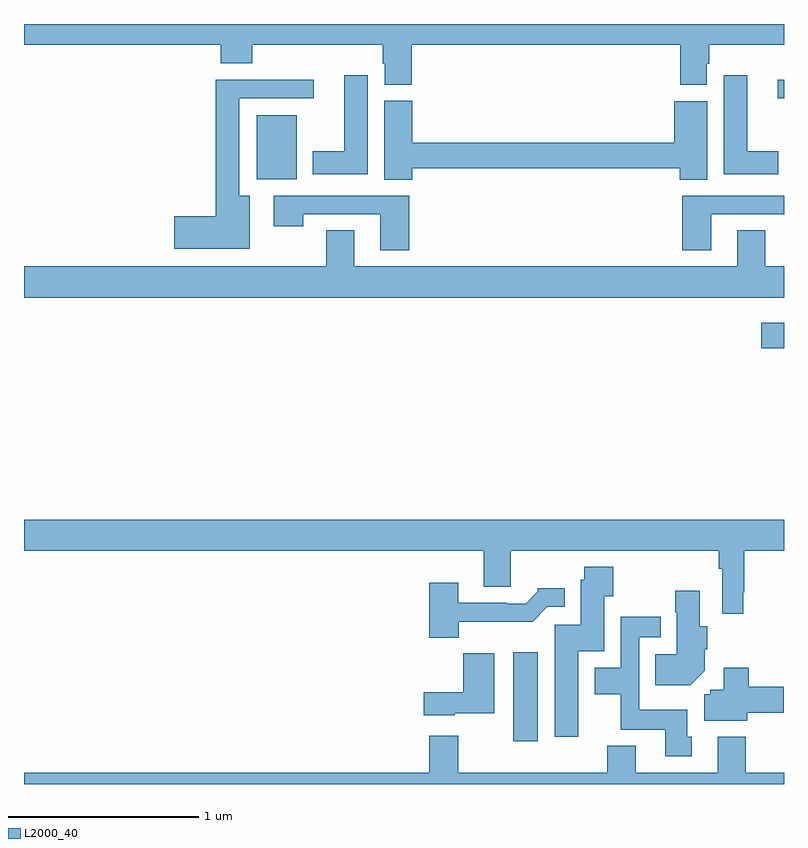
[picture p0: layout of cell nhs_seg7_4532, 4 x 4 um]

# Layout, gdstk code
import gdstk
lib = gdstk.Library(unit=1e-6, precision=1e-09)
def R(c, l, rs):  # rectangles x0, y0, x1, y1
    for r in rs: c.add(gdstk.rectangle(r[:2], r[2:], *l))
def P(c, l, *ps):  # polygons
    for p in ps: c.add(gdstk.Polygon(p, *l))
L2000_40 = (2000, 40)

nhs_seg7_4532 = lib.new_cell('nhs_seg7_4532')
R(nhs_seg7_4532, L2000_40, [(397.574,1054.224,397.705,1054.693), (398.88,1056.293,399,1056.427), (396.224,1057.184,396.436,1057.519), (398.967,1057.608,399,1057.706)])
P(nhs_seg7_4532, L2000_40, [(398.593,1057.791),(398.606,1057.791),(398.606,1057.892),(399,1057.892),(399,1058),(395,1058),(395,1057.892),(396.035,1057.892),(396.035,1057.793),(396.2,1057.793),(396.2,1057.892),(396.887,1057.892),(396.887,1057.791),(396.899,1057.791),(396.899,1057.681),(397.04,1057.681),(397.04,1057.892),(398.453,1057.892),(398.453,1057.679),(398.593,1057.679)],
  [(396.808,1057.729),(396.686,1057.729),(396.686,1057.33),(396.521,1057.33),(396.521,1057.208),(396.808,1057.208)],
  [(398.971,1057.33),(398.806,1057.33),(398.806,1057.729),(398.684,1057.729),(398.684,1057.208),(398.971,1057.208)],
  [(396.187,1057.096),(396.133,1057.096),(396.133,1057.608),(396.526,1057.608),(396.526,1057.706),(396.008,1057.706),(396.008,1056.989),(395.79,1056.989),(395.79,1056.818),(396.187,1056.818)],
  [(397.043,1057.24),(398.45,1057.24),(398.45,1057.18),(398.596,1057.18),(398.596,1057.594),(398.423,1057.594),(398.423,1057.376),(397.043,1057.376),(397.043,1057.596),(396.896,1057.596),(396.896,1057.18),(397.043,1057.18)],
  [(398.617,1056.999),(399,1056.999),(399,1057.095),(398.465,1057.095),(398.465,1056.81),(398.617,1056.81)],
  [(397.028,1057.095),(396.315,1057.095),(396.315,1056.936),(396.471,1056.936),(396.471,1056.999),(396.875,1056.999),(396.875,1056.81),(397.028,1056.81)],
  [(399,1056.724),(398.901,1056.724),(398.901,1056.914),(398.753,1056.914),(398.753,1056.724),(396.739,1056.724),(396.739,1056.914),(396.592,1056.914),(396.592,1056.724),(395,1056.724),(395,1056.56),(399,1056.56)],
  [(398.785,1055.008),(398.792,1055.008),(398.792,1055.228),(399,1055.228),(399,1055.392),(395,1055.392),(395,1055.228),(397.421,1055.228),(397.421,1055.038),(397.561,1055.038),(397.561,1055.228),(398.656,1055.228),(398.656,1055.132),(398.676,1055.132),(398.676,1054.896),(398.785,1054.896)],
  [(397.918,1054.7),(398.053,1054.7),(398.053,1054.987),(398.1,1054.987),(398.1,1055.143),(397.948,1055.143),(397.948,1055.076),(397.931,1055.076),(397.931,1054.839),(397.793,1054.839),(397.793,1054.248),(397.918,1054.248)],
  [(397.288,1054.854),(397.677,1054.854),(397.755,1054.932),(397.846,1054.932),(397.846,1055.029),(397.704,1055.029),(397.704,1055.014),(397.64,1054.95),(397.541,1054.95),(397.541,1054.953),(397.285,1054.953),(397.285,1055.059),(397.133,1055.059),(397.133,1054.769),(397.288,1054.769)],
  [(398.584,1054.597),(398.584,1054.708),(398.597,1054.708),(398.597,1054.83),(398.557,1054.83),(398.557,1055.017),(398.428,1055.017),(398.428,1054.904),(398.435,1054.904),(398.435,1054.684),(398.323,1054.684),(398.323,1054.52),(398.507,1054.52)],
  [(398.515,1054.248),(398.491,1054.248),(398.491,1054.39),(398.238,1054.39),(398.238,1054.773),(398.35,1054.773),(398.35,1054.881),(398.142,1054.881),(398.142,1054.612),(398.003,1054.612),(398.003,1054.472),(398.14,1054.472),(398.14,1054.286),(398.375,1054.286),(398.375,1054.146),(398.515,1054.146)],
  [(397.266,1054.373),(397.474,1054.373),(397.474,1054.687),(397.312,1054.687),(397.312,1054.483),(397.104,1054.483),(397.104,1054.361),(397.266,1054.361)],
  [(398.806,1054.376),(398.998,1054.376),(398.998,1054.511),(398.814,1054.511),(398.814,1054.612),(398.684,1054.612),(398.684,1054.497),(398.613,1054.497),(398.613,1054.472),(398.58,1054.472),(398.58,1054.334),(398.806,1054.334)],
  [(395,1054),(399,1054),(399,1054.06),(398.799,1054.06),(398.799,1054.249),(398.651,1054.249),(398.651,1054.06),(398.221,1054.06),(398.221,1054.201),(398.069,1054.201),(398.069,1054.06),(397.285,1054.06),(397.285,1054.255),(397.133,1054.255),(397.133,1054.06),(395,1054.06)])

lib.write_gds('nhs_seg7_4532.gds')
